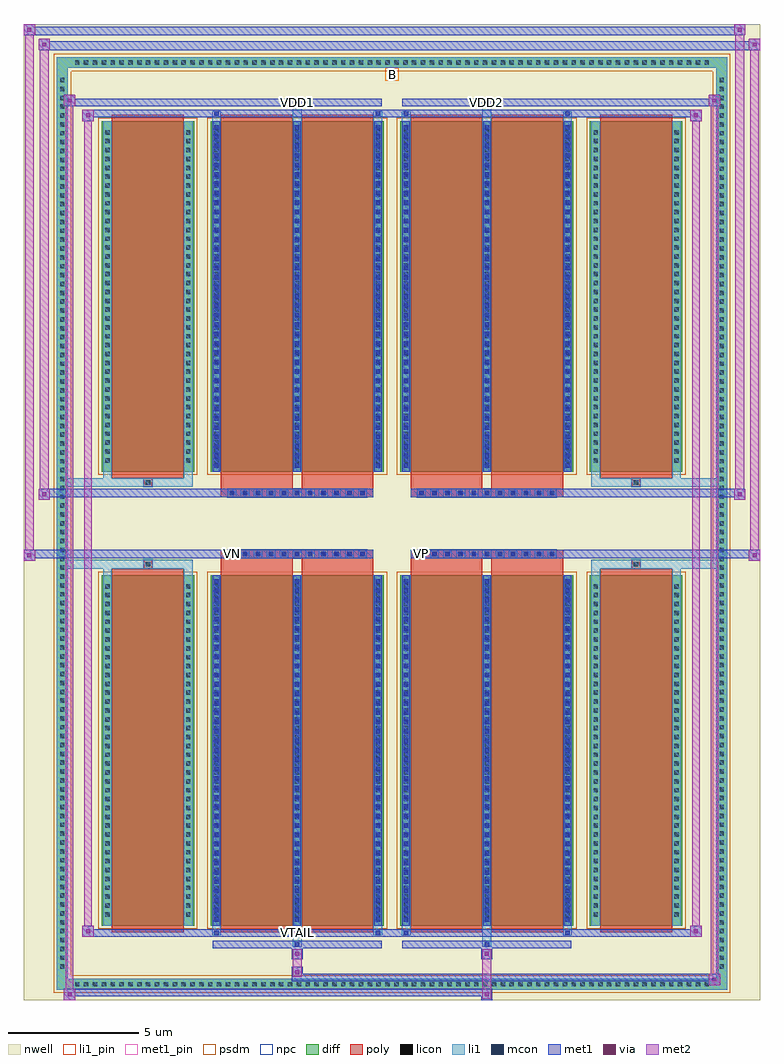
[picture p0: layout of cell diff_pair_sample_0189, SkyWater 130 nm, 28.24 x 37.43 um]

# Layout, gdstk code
import gdstk
lib = gdstk.Library(unit=1e-6, precision=5e-09)
def R(c, l, rs):  # rectangles x0, y0, x1, y1
    for r in rs: c.add(gdstk.rectangle(r[:2], r[2:], *l))
def A(c, l, x, y, w, h, nx, ny, dx, dy):  # array of equal rectangles
    R(c, l, [(x+i*dx, y+j*dy, x+i*dx+w, y+j*dy+h) for i in range(nx) for j in range(ny)])
def P(c, l, *ps):  # polygons
    for p in ps: c.add(gdstk.Polygon(p, *l))
nwell = (64, 20)
diff = (65, 20)
poly = (66, 20)
licon = (66, 44)
li1_pin = (67, 16)
li1 = (67, 20)
mcon = (67, 44)
met1_pin = (68, 16)
met1 = (68, 20)
via = (68, 44)
met2 = (69, 20)
psdm = (94, 20)
npc = (95, 20)

diff_pair_sample_0189 = lib.new_cell('diff_pair_sample_0189')
R(diff_pair_sample_0189, nwell, [(-14.12,-18.28,14.12,19.15), (-11.44,-16.47,-0.01,-0.805), (0.01,-16.47,11.44,-0.805), (-11.44,0.805,-0.01,16.47), (0.01,0.805,11.44,16.47)])
A(diff_pair_sample_0189, diff, -12.275, -17.88, 0.41, 0.41, 72, 2, 0.34, 35.35)
A(diff_pair_sample_0189, diff, -12.85, -17.205, 0.41, 0.41, 1, 101, 0, 0.34)
A(diff_pair_sample_0189, diff, 12.44, -17.205, 0.41, 0.41, 1, 101, 0, 0.34)
R(diff_pair_sample_0189, diff, [(-12.275,-17.88,12.275,-17.47), (-12.85,-17.205,-12.44,17.205), (12.44,-17.205,12.85,17.205), (-11.13,-15.425,-7.59,-1.985), (-6.95,-15.425,-0.32,-1.985), (0.32,-15.425,6.95,-1.985), (7.59,-15.425,11.13,-1.985), (-11.13,1.985,-7.59,15.425), (-6.95,1.985,-0.32,15.425), (0.32,1.985,6.95,15.425), (7.59,1.985,11.13,15.425), (-12.275,17.47,12.275,17.88)])
P(diff_pair_sample_0189, diff, [(12.85,17.88),(-12.85,17.88),(-12.85,-17.47),(-12.44,-17.47),(-12.44,17.47),(12.44,17.47),(12.44,-17.47),(-12.44,-17.47),(-12.85,-17.47),(-12.85,-17.88),(12.85,-17.88)])
A(diff_pair_sample_0189, poly, -6.3, -1.335, 0.33, 0.33, 11, 2, 0.5, 2.34)
A(diff_pair_sample_0189, poly, 0.97, -1.335, 0.33, 0.33, 11, 2, 0.5, 2.34)
R(diff_pair_sample_0189, poly, [(-10.74,-15.675,-7.98,-1.735), (-6.56,-15.675,-3.8,-1.735), (-3.47,-15.675,-0.71,-1.735), (0.71,-15.675,3.47,-1.735), (3.8,-15.675,6.56,-1.735), (7.98,-15.675,10.74,-1.735), (-9.525,-1.735,-9.195,-1.405), (-9.525,-1.735,-9.195,-1.405), (-6.56,-1.735,-3.8,-1.335), (-3.47,-1.735,-0.71,-1.335), (0.71,-1.735,3.47,-1.335), (3.8,-1.735,6.56,-1.335), (9.195,-1.735,9.525,-1.405), (9.195,-1.735,9.525,-1.405), (-6.56,-1.335,-0.71,-1.005), (0.71,-1.335,6.56,-1.005), (-6.56,1.005,-0.71,1.335), (0.71,1.005,6.56,1.335), (-6.56,1.335,-3.8,1.735), (-3.47,1.335,-0.71,1.735), (0.71,1.335,3.47,1.735), (3.8,1.335,6.56,1.735), (-9.525,1.405,-9.195,1.735), (-9.525,1.405,-9.195,1.735), (9.195,1.405,9.525,1.735), (9.195,1.405,9.525,1.735), (-10.74,1.735,-7.98,15.675), (-6.56,1.735,-3.8,15.675), (-3.47,1.735,-0.71,15.675), (0.71,1.735,3.47,15.675), (3.8,1.735,6.56,15.675), (7.98,1.735,10.74,15.675)])
A(diff_pair_sample_0189, licon, -12.155, -17.76, 0.17, 0.17, 72, 2, 0.34, 35.35)
A(diff_pair_sample_0189, licon, -12.73, -17.085, 0.17, 0.17, 1, 101, 0, 0.34)
A(diff_pair_sample_0189, licon, 12.56, -17.085, 0.17, 0.17, 1, 101, 0, 0.34)
A(diff_pair_sample_0189, licon, -10.99, -15.08, 0.17, 0.17, 1, 38, 0, 0.34)
A(diff_pair_sample_0189, licon, -7.9, -15.08, 0.17, 0.17, 1, 38, 0, 0.34)
A(diff_pair_sample_0189, licon, -6.81, -15.08, 0.17, 0.17, 3, 38, 3.09, 0.34)
A(diff_pair_sample_0189, licon, 0.46, -15.08, 0.17, 0.17, 3, 38, 3.09, 0.34)
A(diff_pair_sample_0189, licon, 7.73, -15.08, 0.17, 0.17, 1, 38, 0, 0.34)
A(diff_pair_sample_0189, licon, 10.82, -15.08, 0.17, 0.17, 1, 38, 0, 0.34)
A(diff_pair_sample_0189, licon, -6.22, -1.255, 0.17, 0.17, 11, 2, 0.5, 2.34)
A(diff_pair_sample_0189, licon, 1.05, -1.255, 0.17, 0.17, 11, 2, 0.5, 2.34)
A(diff_pair_sample_0189, licon, -10.99, 2.33, 0.17, 0.17, 1, 38, 0, 0.34)
A(diff_pair_sample_0189, licon, -7.9, 2.33, 0.17, 0.17, 1, 38, 0, 0.34)
A(diff_pair_sample_0189, licon, -6.81, 2.33, 0.17, 0.17, 3, 38, 3.09, 0.34)
A(diff_pair_sample_0189, licon, 0.46, 2.33, 0.17, 0.17, 3, 38, 3.09, 0.34)
A(diff_pair_sample_0189, licon, 7.73, 2.33, 0.17, 0.17, 1, 38, 0, 0.34)
A(diff_pair_sample_0189, licon, 10.82, 2.33, 0.17, 0.17, 1, 38, 0, 0.34)
R(diff_pair_sample_0189, licon, [(-9.445,-1.655,-9.275,-1.485), (9.275,-1.655,9.445,-1.485), (-9.445,1.485,-9.275,1.655), (9.275,1.485,9.445,1.655)])
R(diff_pair_sample_0189, li1_pin, [(-0.25,16.97,0.25,17.47)])
A(diff_pair_sample_0189, li1, -12.235, -17.84, 0.33, 0.33, 72, 2, 0.34, 35.35)
A(diff_pair_sample_0189, li1, -12.81, -17.165, 0.33, 0.33, 1, 101, 0, 0.34)
A(diff_pair_sample_0189, li1, 12.48, -17.165, 0.33, 0.33, 1, 101, 0, 0.34)
A(diff_pair_sample_0189, li1, -6.89, -15.425, 0.33, 13.44, 3, 2, 3.09, 17.41)
A(diff_pair_sample_0189, li1, 0.38, -15.425, 0.33, 13.44, 3, 2, 3.09, 17.41)
A(diff_pair_sample_0189, li1, -6.81, -15.27, 0.17, 0.17, 3, 37, 3.09, 0.36)
A(diff_pair_sample_0189, li1, -6.81, -15.27, 0.17, 13.13, 3, 2, 3.09, 17.41)
A(diff_pair_sample_0189, li1, 0.46, -15.27, 0.17, 0.17, 3, 37, 3.09, 0.36)
A(diff_pair_sample_0189, li1, 0.46, -15.27, 0.17, 13.13, 3, 2, 3.09, 17.41)
A(diff_pair_sample_0189, li1, -11.07, -15.16, 0.33, 0.33, 1, 38, 0, 0.34)
A(diff_pair_sample_0189, li1, -7.98, -15.16, 0.33, 0.33, 1, 38, 0, 0.34)
A(diff_pair_sample_0189, li1, -6.89, -15.16, 0.33, 0.33, 3, 38, 3.09, 0.34)
A(diff_pair_sample_0189, li1, 0.38, -15.16, 0.33, 0.33, 3, 38, 3.09, 0.34)
A(diff_pair_sample_0189, li1, 7.65, -15.16, 0.33, 0.33, 1, 38, 0, 0.34)
A(diff_pair_sample_0189, li1, 10.74, -15.16, 0.33, 0.33, 1, 38, 0, 0.34)
A(diff_pair_sample_0189, li1, -6.3, -1.335, 0.33, 0.33, 11, 2, 0.5, 2.34)
A(diff_pair_sample_0189, li1, 0.97, -1.335, 0.33, 0.33, 11, 2, 0.5, 2.34)
A(diff_pair_sample_0189, li1, -6.81, 2.14, 0.17, 0.17, 3, 37, 3.09, 0.36)
A(diff_pair_sample_0189, li1, 0.46, 2.14, 0.17, 0.17, 3, 37, 3.09, 0.36)
A(diff_pair_sample_0189, li1, -11.07, 2.25, 0.33, 0.33, 1, 38, 0, 0.34)
A(diff_pair_sample_0189, li1, -7.98, 2.25, 0.33, 0.33, 1, 38, 0, 0.34)
A(diff_pair_sample_0189, li1, -6.89, 2.25, 0.33, 0.33, 3, 38, 3.09, 0.34)
A(diff_pair_sample_0189, li1, 0.38, 2.25, 0.33, 0.33, 3, 38, 3.09, 0.34)
A(diff_pair_sample_0189, li1, 7.65, 2.25, 0.33, 0.33, 1, 38, 0, 0.34)
A(diff_pair_sample_0189, li1, 10.74, 2.25, 0.33, 0.33, 1, 38, 0, 0.34)
R(diff_pair_sample_0189, li1, [(-12.85,-17.88,-12.44,-17.47), (-12.85,-17.88,-12.44,-17.47), (-12.44,-17.88,12.44,-17.47), (12.44,-17.88,12.85,-17.47), (12.44,-17.88,12.85,-17.47), (-12.85,-17.47,-12.44,17.47), (12.44,-17.47,12.85,17.47), (-3.8,-16.23,-3.47,-15.425), (-3.72,-16.23,-3.55,-16.06), (3.47,-16.23,3.8,-15.425), (3.55,-16.23,3.72,-16.06), (-6.89,-15.8,-6.56,-15.425), (-6.81,-15.8,-6.64,-15.63), (-0.71,-15.8,-0.38,-15.425), (-0.63,-15.8,-0.46,-15.63), (0.38,-15.8,0.71,-15.425), (0.46,-15.8,0.63,-15.63), (6.56,-15.8,6.89,-15.425), (6.64,-15.8,6.81,-15.63), (-11.07,-15.425,-10.74,-1.985), (-7.98,-15.425,-7.65,-1.985), (7.65,-15.425,7.98,-1.985), (10.74,-15.425,11.07,-1.985), (-11.07,-1.985,-10.74,-1.405), (-7.98,-1.985,-7.65,-1.405), (7.65,-1.985,7.98,-1.405), (10.74,-1.985,11.07,-1.405), (-12.85,-1.735,-9.525,-1.405), (-11.07,-1.735,-9.525,-1.405), (-9.525,-1.735,-9.195,-1.405), (-9.195,-1.735,-7.65,-1.405), (7.65,-1.735,9.195,-1.405), (9.195,-1.735,9.525,-1.405), (9.195,-1.735,12.85,-1.405), (9.525,-1.735,11.07,-1.405), (-12.85,1.405,-9.525,1.735), (-11.07,1.405,-9.525,1.735), (-11.07,1.405,-10.74,1.985), (-9.525,1.405,-9.195,1.735), (-9.195,1.405,-7.65,1.735), (-7.98,1.405,-7.65,1.985), (7.65,1.405,9.195,1.735), (7.65,1.405,7.98,1.985), (9.195,1.405,9.525,1.735), (9.195,1.405,12.85,1.735), (9.525,1.405,11.07,1.735), (10.74,1.405,11.07,1.985), (-11.07,1.985,-10.74,15.425), (-7.98,1.985,-7.65,15.425), (7.65,1.985,7.98,15.425), (10.74,1.985,11.07,15.425), (-6.89,15.425,-6.56,15.8), (-3.8,15.425,-3.47,16.23), (-0.71,15.425,-0.38,15.8), (0.38,15.425,0.71,15.8), (3.47,15.425,3.8,16.23), (6.56,15.425,6.89,15.8), (-6.81,15.63,-6.64,15.8), (-0.63,15.63,-0.46,15.8), (0.46,15.63,0.63,15.8), (6.64,15.63,6.81,15.8), (-3.72,16.06,-3.55,16.23), (3.55,16.06,3.72,16.23), (-12.85,17.47,-12.44,17.88), (-12.85,17.47,-12.44,17.88), (-12.44,17.47,12.44,17.88), (12.44,17.47,12.85,17.88), (12.44,17.47,12.85,17.88)])
A(diff_pair_sample_0189, mcon, -6.81, -15.27, 0.17, 0.17, 3, 37, 3.09, 0.36)
A(diff_pair_sample_0189, mcon, 0.46, -15.27, 0.17, 0.17, 3, 37, 3.09, 0.36)
A(diff_pair_sample_0189, mcon, -6.22, -1.255, 0.17, 0.17, 11, 2, 0.5, 2.34)
A(diff_pair_sample_0189, mcon, 1.05, -1.255, 0.17, 0.17, 11, 2, 0.5, 2.34)
A(diff_pair_sample_0189, mcon, -6.81, 2.14, 0.17, 0.17, 3, 37, 3.09, 0.36)
A(diff_pair_sample_0189, mcon, 0.46, 2.14, 0.17, 0.17, 3, 37, 3.09, 0.36)
R(diff_pair_sample_0189, mcon, [(-3.72,-16.23,-3.55,-16.06), (3.55,-16.23,3.72,-16.06), (-6.81,-15.8,-6.64,-15.63), (-0.63,-15.8,-0.46,-15.63), (0.46,-15.8,0.63,-15.63), (6.64,-15.8,6.81,-15.63), (-6.81,15.63,-6.64,15.8), (-0.63,15.63,-0.46,15.8), (0.46,15.63,0.63,15.8), (6.64,15.63,6.81,15.8), (-3.72,16.06,-3.55,16.23), (3.55,16.06,3.72,16.23)])
R(diff_pair_sample_0189, met1_pin, [(-3.77,-15.84,-3.5,-15.57), (-6.27,-1.295,-6,-1.025), (1,-1.295,1.27,-1.025), (-3.77,16.02,-3.5,16.29), (3.5,16.02,3.77,16.29)])
A(diff_pair_sample_0189, met1, -6.87, -15.425, 0.29, 13.44, 3, 2, 3.09, 17.41)
A(diff_pair_sample_0189, met1, 0.4, -15.425, 0.29, 13.44, 3, 2, 3.09, 17.41)
A(diff_pair_sample_0189, met1, -6.87, -15.33, 0.29, 0.29, 3, 37, 3.09, 0.36)
A(diff_pair_sample_0189, met1, 0.4, -15.33, 0.29, 0.29, 3, 37, 3.09, 0.36)
A(diff_pair_sample_0189, met1, -6.28, -1.315, 0.29, 0.29, 11, 2, 0.5, 2.34)
A(diff_pair_sample_0189, met1, 0.99, -1.315, 0.29, 0.29, 11, 2, 0.5, 2.34)
A(diff_pair_sample_0189, met1, -6.87, 2.08, 0.29, 0.29, 3, 37, 3.09, 0.36)
A(diff_pair_sample_0189, met1, 0.4, 2.08, 0.29, 0.29, 3, 37, 3.09, 0.36)
R(diff_pair_sample_0189, met1, [(-12.58,-18.28,-12.15,-17.85), (3.42,-18.28,3.85,-17.85), (-12.58,-18.14,3.85,-17.85), (12.15,-17.71,12.58,-17.28), (-3.85,-17.57,12.58,-17.28), (-3.85,-17.43,-3.42,-17), (-3.85,-16.72,-3.42,-16.29), (3.42,-16.72,3.85,-16.29), (-6.87,-16.29,-0.4,-16), (-3.78,-16.29,-3.49,-16), (0.4,-16.29,6.87,-16), (3.49,-16.29,3.78,-16), (-11.87,-15.86,-11.44,-15.43), (-11.87,-15.86,-6.87,-15.57), (-6.87,-15.86,-6.58,-15.57), (-6.87,-15.86,-0.4,-15.57), (-0.69,-15.86,-0.4,-15.57), (-0.4,-15.86,0.4,-15.57), (0.4,-15.86,0.69,-15.57), (0.4,-15.86,6.87,-15.57), (6.58,-15.86,6.87,-15.57), (6.87,-15.86,11.87,-15.57), (11.44,-15.86,11.87,-15.43), (-14.12,-1.435,-13.69,-1.005), (13.69,-1.435,14.12,-1.005), (-14.12,-1.335,-0.71,-1.005), (-6.56,-1.335,-0.71,-1.005), (0.71,-1.335,6.56,-1.005), (0.71,-1.335,14.12,-1.005), (-13.55,0.905,-13.12,1.335), (13.12,0.905,13.55,1.335), (-13.55,1.005,-6.56,1.335), (-6.56,1.005,-0.71,1.335), (0.71,1.005,6.56,1.335), (6.56,1.005,13.55,1.335), (-11.87,15.43,-11.44,15.86), (11.44,15.43,11.87,15.86), (-11.87,15.57,-6.87,15.86), (-6.87,15.57,-6.58,15.86), (-6.87,15.57,-0.4,15.86), (-0.69,15.57,-0.4,15.86), (-0.4,15.57,0.4,15.86), (0.4,15.57,0.69,15.86), (0.4,15.57,6.87,15.86), (6.58,15.57,6.87,15.86), (6.87,15.57,11.87,15.86), (-12.58,16,-12.15,16.43), (-12.58,16,-6.87,16.29), (-6.87,16,-0.4,16.29), (-3.78,16,-3.49,16.29), (0.4,16,6.87,16.29), (3.49,16,3.78,16.29), (6.87,16,12.58,16.29), (12.15,16,12.58,16.43), (-13.55,18.15,-13.12,18.58), (-13.55,18.15,-11.44,18.48), (-11.44,18.15,11.44,18.48), (11.44,18.15,14.12,18.48), (13.69,18.15,14.12,18.58), (-14.12,18.72,-13.69,19.15), (-14.12,18.72,-11.44,19.05), (-11.44,18.72,11.44,19.05), (11.44,18.72,13.55,19.05), (13.12,18.72,13.55,19.15)])
R(diff_pair_sample_0189, via, [(-12.44,-18.14,-12.29,-17.99), (3.56,-18.14,3.71,-17.99), (12.29,-17.57,12.44,-17.42), (-3.71,-17.29,-3.56,-17.14), (-3.71,-16.58,-3.56,-16.43), (3.56,-16.58,3.71,-16.43), (-11.73,-15.72,-11.58,-15.57), (11.58,-15.72,11.73,-15.57), (-13.98,-1.295,-13.83,-1.145), (13.83,-1.295,13.98,-1.145), (-13.41,1.045,-13.26,1.195), (13.26,1.045,13.41,1.195), (-11.73,15.57,-11.58,15.72), (11.58,15.57,11.73,15.72), (-12.44,16.14,-12.29,16.29), (12.29,16.14,12.44,16.29), (-13.41,18.29,-13.26,18.44), (13.83,18.29,13.98,18.44), (-13.98,18.86,-13.83,19.01), (13.26,18.86,13.41,19.01)])
R(diff_pair_sample_0189, met2, [(-12.58,-18.28,-12.15,-17.85), (-12.51,-18.28,-12.22,16.43), (-12.22,-18.28,-12.15,-17.85), (-12.53,-18.23,-12.2,-17.9), (3.47,-18.23,3.8,-17.9), (3.47,-17.9,3.8,-16.67), (12.15,-17.71,12.58,-17.28), (12.22,-17.71,12.51,16.43), (12.51,-17.71,12.58,-17.28), (12.2,-17.66,12.53,-17.33), (-3.8,-17.38,-3.47,-17.05), (-3.8,-17.05,-3.47,-16.67), (-3.8,-16.67,-3.47,-16.34), (3.47,-16.67,3.8,-16.34), (-11.87,-15.86,-11.44,-15.43), (-11.8,-15.86,-11.51,15.86), (-11.51,-15.86,-11.44,-15.43), (11.44,-15.86,11.87,-15.43), (11.51,-15.86,11.8,15.86), (11.8,-15.86,11.87,-15.43), (-11.82,-15.81,-11.49,-15.48), (11.49,-15.81,11.82,-15.48), (-14.12,-1.435,-13.69,-1.005), (-14.07,-1.435,-13.74,19.15), (-13.74,-1.435,-13.69,-1.005), (13.69,-1.435,14.12,-1.005), (13.74,-1.435,14.07,18.58), (14.07,-1.435,14.12,-1.005), (-14.07,-1.385,-13.74,-1.055), (13.74,-1.385,14.07,-1.055), (-13.55,0.905,-13.12,1.335), (-13.5,0.905,-13.17,18.58), (-13.17,0.905,-13.12,1.335), (13.12,0.905,13.55,1.335), (13.17,0.905,13.5,19.15), (13.5,0.905,13.55,1.335), (-13.5,0.955,-13.17,1.285), (13.17,0.955,13.5,1.285), (-11.87,15.43,-11.44,15.86), (-11.51,15.43,-11.44,15.86), (11.44,15.43,11.87,15.86), (11.8,15.43,11.87,15.86), (-11.82,15.48,-11.49,15.81), (11.49,15.48,11.82,15.81), (-12.58,16,-12.15,16.43), (-12.22,16,-12.15,16.43), (12.15,16,12.58,16.43), (12.51,16,12.58,16.43), (-12.53,16.05,-12.2,16.38), (12.2,16.05,12.53,16.38), (-13.55,18.15,-13.12,18.58), (-13.17,18.15,-13.12,18.58), (13.69,18.15,14.12,18.58), (14.07,18.15,14.12,18.58), (-13.5,18.2,-13.17,18.53), (13.74,18.2,14.07,18.53), (-14.12,18.72,-13.69,19.15), (-13.74,18.72,-13.69,19.15), (13.12,18.72,13.55,19.15), (13.5,18.72,13.55,19.15), (-14.07,18.77,-13.74,19.1), (13.17,18.77,13.5,19.1)])
R(diff_pair_sample_0189, psdm, [(-11.26,-15.555,-7.46,-1.855), (-7.08,-15.555,-0.19,-1.855), (0.19,-15.555,7.08,-1.855), (7.46,-15.555,11.26,-1.855), (-11.26,1.855,-7.46,15.555), (-7.08,1.855,-0.19,15.555), (0.19,1.855,7.08,15.555), (7.46,1.855,11.26,15.555)])
P(diff_pair_sample_0189, psdm, [(12.98,18.01),(-12.98,18.01),(-12.98,-17.34),(-12.31,-17.34),(-12.31,17.34),(12.31,17.34),(12.31,-17.34),(-12.31,-17.34),(-12.98,-17.34),(-12.98,-18.01),(12.98,-18.01)])
A(diff_pair_sample_0189, npc, -6.32, -1.355, 0.37, 0.37, 11, 2, 0.5, 2.34)
A(diff_pair_sample_0189, npc, 0.95, -1.355, 0.37, 0.37, 11, 2, 0.5, 2.34)
R(diff_pair_sample_0189, npc, [(-9.545,-1.755,-9.175,-1.385), (9.175,-1.755,9.545,-1.385), (-6.32,-1.355,-5.45,-0.985), (-6.32,-1.355,-5.45,-0.985), (-5.82,-1.355,-4.95,-0.985), (-5.82,-1.355,-4.95,-0.985), (-5.32,-1.355,-4.45,-0.985), (-5.32,-1.355,-4.45,-0.985), (-4.82,-1.355,-3.95,-0.985), (-4.82,-1.355,-3.95,-0.985), (-4.32,-1.355,-3.45,-0.985), (-4.32,-1.355,-3.45,-0.985), (-3.82,-1.355,-2.95,-0.985), (-3.82,-1.355,-2.95,-0.985), (-3.32,-1.355,-2.45,-0.985), (-3.32,-1.355,-2.45,-0.985), (-2.82,-1.355,-1.95,-0.985), (-2.82,-1.355,-1.95,-0.985), (-2.32,-1.355,-1.45,-0.985), (-2.32,-1.355,-1.45,-0.985), (-1.82,-1.355,-0.95,-0.985), (-1.82,-1.355,-0.95,-0.985), (0.95,-1.355,1.82,-0.985), (0.95,-1.355,1.82,-0.985), (1.45,-1.355,2.32,-0.985), (1.45,-1.355,2.32,-0.985), (1.95,-1.355,2.82,-0.985), (1.95,-1.355,2.82,-0.985), (2.45,-1.355,3.32,-0.985), (2.45,-1.355,3.32,-0.985), (2.95,-1.355,3.82,-0.985), (2.95,-1.355,3.82,-0.985), (3.45,-1.355,4.32,-0.985), (3.45,-1.355,4.32,-0.985), (3.95,-1.355,4.82,-0.985), (3.95,-1.355,4.82,-0.985), (4.45,-1.355,5.32,-0.985), (4.45,-1.355,5.32,-0.985), (4.95,-1.355,5.82,-0.985), (4.95,-1.355,5.82,-0.985), (5.45,-1.355,6.32,-0.985), (5.45,-1.355,6.32,-0.985), (-6.32,0.985,-5.45,1.355), (-6.32,0.985,-5.45,1.355), (-5.82,0.985,-4.95,1.355), (-5.82,0.985,-4.95,1.355), (-5.32,0.985,-4.45,1.355), (-5.32,0.985,-4.45,1.355), (-4.82,0.985,-3.95,1.355), (-4.82,0.985,-3.95,1.355), (-4.32,0.985,-3.45,1.355), (-4.32,0.985,-3.45,1.355), (-3.82,0.985,-2.95,1.355), (-3.82,0.985,-2.95,1.355), (-3.32,0.985,-2.45,1.355), (-3.32,0.985,-2.45,1.355), (-2.82,0.985,-1.95,1.355), (-2.82,0.985,-1.95,1.355), (-2.32,0.985,-1.45,1.355), (-2.32,0.985,-1.45,1.355), (-1.82,0.985,-0.95,1.355), (-1.82,0.985,-0.95,1.355), (0.95,0.985,1.82,1.355), (0.95,0.985,1.82,1.355), (1.45,0.985,2.32,1.355), (1.45,0.985,2.32,1.355), (1.95,0.985,2.82,1.355), (1.95,0.985,2.82,1.355), (2.45,0.985,3.32,1.355), (2.45,0.985,3.32,1.355), (2.95,0.985,3.82,1.355), (2.95,0.985,3.82,1.355), (3.45,0.985,4.32,1.355), (3.45,0.985,4.32,1.355), (3.95,0.985,4.82,1.355), (3.95,0.985,4.82,1.355), (4.45,0.985,5.32,1.355), (4.45,0.985,5.32,1.355), (4.95,0.985,5.82,1.355), (4.95,0.985,5.82,1.355), (5.45,0.985,6.32,1.355), (5.45,0.985,6.32,1.355), (-9.545,1.385,-9.175,1.755), (9.175,1.385,9.545,1.755)])
diff_pair_sample_0189.add(gdstk.Label('VTAIL', (-3.635,-15.705), layer=68, texttype=5))
diff_pair_sample_0189.add(gdstk.Label('VN', (-6.135,-1.16), layer=68, texttype=5))
diff_pair_sample_0189.add(gdstk.Label('VP', (1.135,-1.16), layer=68, texttype=5))
diff_pair_sample_0189.add(gdstk.Label('B', (0,17.22), layer=67, texttype=5))
diff_pair_sample_0189.add(gdstk.Label('VDD2', (3.635,16.155), layer=68, texttype=5))
diff_pair_sample_0189.add(gdstk.Label('VDD1', (-3.635,16.155), layer=68, texttype=5))

lib.write_gds('diff_pair_sample_0189.gds')
